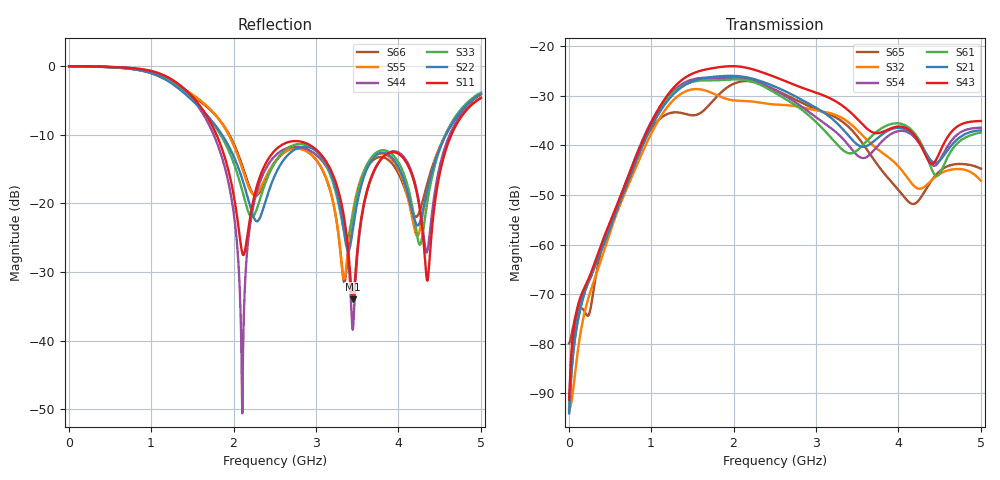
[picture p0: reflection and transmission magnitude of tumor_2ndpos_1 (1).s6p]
! TOUCHSTONE file generated by CST MICROWAVE STUDIO
! Date and time: Mon Mar 30 10:30:52 2026
! Project name: UWB_patch_small+voxel_ARRAY _tumor _packed.cst
! Parameters = {Lg_partial=9.8; R=26.6; SL=63; SW=63; extx=4; h=1.6; scale=0.7; wf=3; xl=31.5; yc1=4.9; yc2=4.9; yl=45.5}
! Header version: 2015
! Port assignment regex: !\s*Touchstone port\s*([0-9]+)\s*=\s*CST MWS port\s*([0-9]+)\s*\(\"(.*)\"\)(\s*mode\s*([0-9]+))?.*
! Touchstone port assignment:
! Touchstone port 1 = CST MWS port 1 ("")
! Touchstone port 2 = CST MWS port 2 ("")
! Touchstone port 3 = CST MWS port 3 ("")
! Touchstone port 4 = CST MWS port 4 ("")
! Touchstone port 5 = CST MWS port 5 ("")
! Touchstone port 6 = CST MWS port 6 ("")
# GHz S MA R 50
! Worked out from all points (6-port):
!   1000 points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, 5 MHz to 5 GHz, reference 50 ohm
!   strongest paths, dB at 5 MHz, 1.255 GHz, 2.505 GHz, 3.755 GHz, 5 GHz:
!     S43: -91.3, -28.7, -26.2, -37.5, -35.1
!     S21: -94.0, -29.9, -28.2, -38.4, -37.0
!     S61: -93.7, -29.6, -29.4, -37.0, -37.4
!     S54: -92.7, -29.2, -28.9, -40.0, -36.4
!     S32: -93.2, -31.1, -31.8, -40.9, -47.1
!     S65: -79.9, -33.4, -28.8, -44.1, -44.7
!   lowest |S11| = -34.0 dB at 3.445 GHz (marker M1), VSWR 1.04, Z = 49.4 - j1.9 ohm
!   |S11| at or under -10 dB: 1.793 GHz to 4.643 GHz (2.85 GHz wide, 88.6 % of centre)
